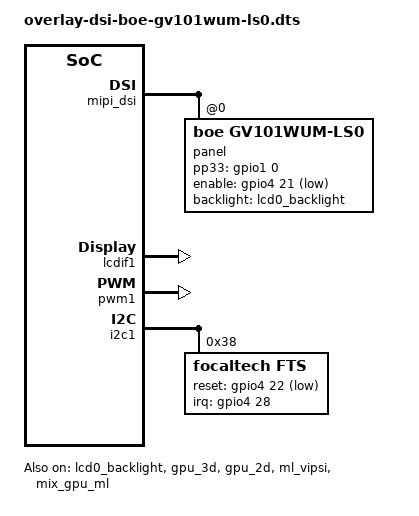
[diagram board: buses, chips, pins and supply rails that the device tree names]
/*
 * Copyright (C) 2022 Avnet Embedded GmbH
 *
 * This program is free software; you can redistribute it and/or
 * modify it under the terms of the GNU General Public License as
 * published by the Free Software Foundation version 2.
 *
 * This program is distributed "as is" WITHOUT ANY WARRANTY of any
 * kind, whether express or implied; without even the implied warranty
 * of MERCHANTABILITY or FITNESS FOR A PARTICULAR PURPOSE.  See the
 * GNU General Public License for more details.
 */


/dts-v1/;
/plugin/;

#include <dt-bindings/gpio/gpio.h>

/ {
	fragment@4200 {
		target = <&mipi_dsi>;
		__overlay__ {
			#address-cells = <1>;
			#size-cells = <0>;
			status = "okay";
			panel@0 {
				reg = <0>;
				pinctrl-names = "default";
				pinctrl-0 = <&pinctrl_lcd0_panel>;
				compatible = "boe,gv101wum-ls0";
				backlight = <&lcd0_backlight>;
				pp33-gpios = <&gpio1 0 GPIO_ACTIVE_HIGH>;
				enable-gpios = <&gpio4 21 GPIO_ACTIVE_LOW>;
				status = "okay";
			};
		};
	};

	fragment@4201 {
		target = <&lcdif1>;
		__overlay__ {
			status = "okay";
		};
	};

	fragment@4202 {
		target = <&pwm1>;
		__overlay__ {
			status = "okay";
		};
	};

	fragment@4203 {
		target = <&lcd0_backlight>;
		__overlay__ {
			status = "okay";
		};
	};

	fragment@4204 {
		target = <&gpu_3d>;
		__overlay__ {
			status = "okay";
		};
	};

	fragment@4205 {
		target = <&gpu_2d>;
		__overlay__ {
			status = "okay";
		};
	};

	fragment@4206 {
		target = <&ml_vipsi>;
		__overlay__ {
			status = "okay";
		};
	};

	fragment@4207 {
		target = <&mix_gpu_ml>;
		__overlay__ {
			status = "okay";
		};
	};

	fragment@4208 {
		target = <&i2c1>;
		__overlay__ {
			#address-cells = <1>;
			#size-cells = <0>;
			focaltech@38 {
				compatible = "focaltech,fts";
				reg = <0x38>;
				focaltech,reset-gpio = <&gpio4 22 GPIO_ACTIVE_LOW>;
				focaltech,irq-gpio = <&gpio4 28 0x02>;
				interrupt-parent = <&gpio4>;
				interrupts = <28 0x02>;

				focaltech,max-touch-number = <5>;
				focaltech,display-coords =  <0 0 1200 1920>;

				status = "okay";
			};
		};
	};
};
